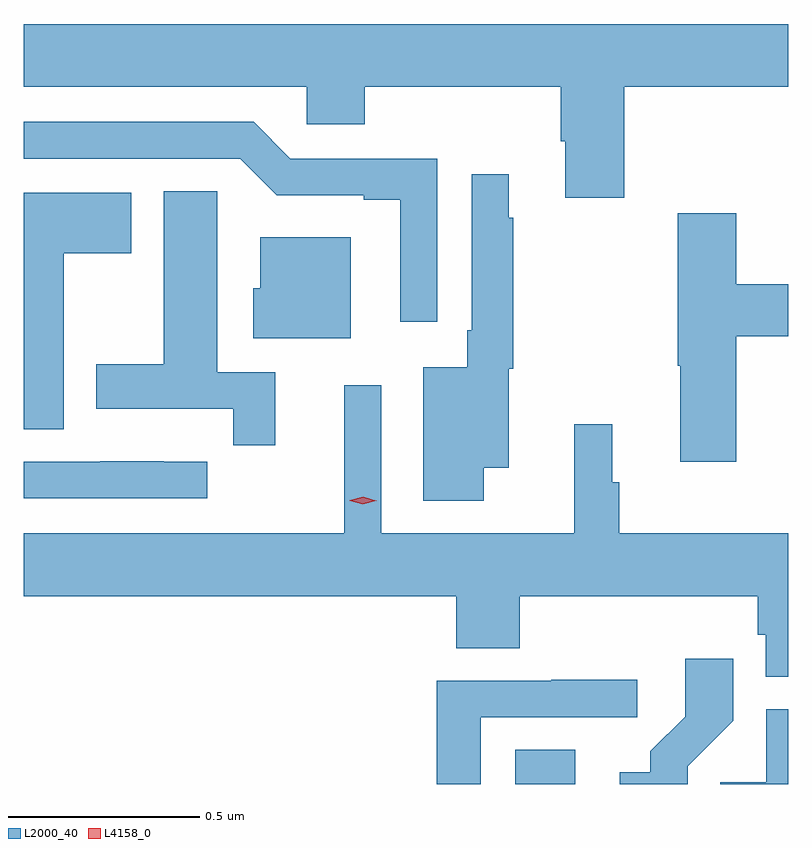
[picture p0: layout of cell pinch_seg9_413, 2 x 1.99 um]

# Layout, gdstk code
import gdstk
lib = gdstk.Library(unit=1e-6, precision=1e-09)
def R(c, l, rs):  # rectangles x0, y0, x1, y1
    for r in rs: c.add(gdstk.rectangle(r[:2], r[2:], *l))
def P(c, l, *ps):  # polygons
    for p in ps: c.add(gdstk.Polygon(p, *l))
L2000_40 = (2000, 40)
L4158_0 = (4158, 0)

pinch_seg9_413 = lib.new_cell('pinch_seg9_413')
R(pinch_seg9_413, L2000_40, [(312.77,1237.221,312.928,1237.31)])
P(pinch_seg9_413, L2000_40, [(313.055,1239.044),(313.485,1239.044),(313.485,1239.208),(311.485,1239.208),(311.485,1239.044),(312.225,1239.044),(312.225,1238.946),(312.377,1238.946),(312.377,1239.044),(312.89,1239.044),(312.89,1238.902),(312.902,1238.902),(312.902,1238.754),(313.055,1238.754)],
  [(312.567,1238.856),(312.183,1238.856),(312.087,1238.952),(311.485,1238.952),(311.485,1238.856),(312.051,1238.856),(312.147,1238.76),(312.374,1238.76),(312.374,1238.748),(312.47,1238.748),(312.47,1238.43),(312.567,1238.43)],
  [(312.688,1238.048),(312.754,1238.048),(312.754,1238.307),(312.766,1238.307),(312.766,1238.702),(312.754,1238.702),(312.754,1238.815),(312.657,1238.815),(312.657,1238.407),(312.645,1238.407),(312.645,1238.311),(312.53,1238.311),(312.53,1237.961),(312.688,1237.961)],
  [(312.143,1238.298),(311.992,1238.298),(311.992,1238.66),(311.991,1238.66),(311.991,1238.771),(311.852,1238.771),(311.852,1238.319),(311.675,1238.319),(311.675,1238.202),(312.034,1238.202),(312.034,1238.106),(312.143,1238.106)],
  [(311.59,1238.608),(311.767,1238.608),(311.767,1238.767),(311.485,1238.767),(311.485,1238.149),(311.59,1238.149)],
  [(313.349,1238.392),(313.485,1238.392),(313.485,1238.528),(313.349,1238.528),(313.349,1238.713),(313.195,1238.713),(313.195,1238.315),(313.202,1238.315),(313.202,1238.064),(313.349,1238.064)],
  [(312.34,1238.65),(312.104,1238.65),(312.104,1238.517),(312.086,1238.517),(312.086,1238.387),(312.34,1238.387)],
  [(313.485,1237.876),(313.043,1237.876),(313.043,1238.01),(313.024,1238.01),(313.024,1238.161),(312.925,1238.161),(312.925,1237.876),(312.42,1237.876),(312.42,1238.263),(312.323,1238.263),(312.323,1237.876),(311.485,1237.876),(311.485,1237.712),(312.617,1237.712),(312.617,1237.576),(312.782,1237.576),(312.782,1237.712),(313.405,1237.712),(313.405,1237.611),(313.425,1237.611),(313.425,1237.502),(313.485,1237.502)],
  [(311.965,1238.064),(311.852,1238.064),(311.852,1238.065),(311.686,1238.065),(311.686,1238.064),(311.485,1238.064),(311.485,1237.968),(311.965,1237.968)],
  [(313.221,1237.267),(313.34,1237.386),(313.34,1237.549),(313.215,1237.549),(313.215,1237.397),(313.124,1237.307),(313.124,1237.252),(313.044,1237.252),(313.044,1237.221),(313.221,1237.221)],
  [(312.681,1237.395),(313.09,1237.395),(313.09,1237.494),(312.865,1237.494),(312.865,1237.491),(312.565,1237.491),(312.565,1237.221),(312.681,1237.221)],
  [(313.485,1237.417),(313.427,1237.417),(313.427,1237.226),(313.306,1237.226),(313.306,1237.221),(313.485,1237.221)])
P(pinch_seg9_413, L4158_0, [(312.372,1237.952),(312.338,1237.962),(312.338,1237.962),(312.338,1237.963),(312.373,1237.972),(312.407,1237.962),(312.408,1237.962),(312.407,1237.962)])

lib.write_gds('pinch_seg9_413.gds')
